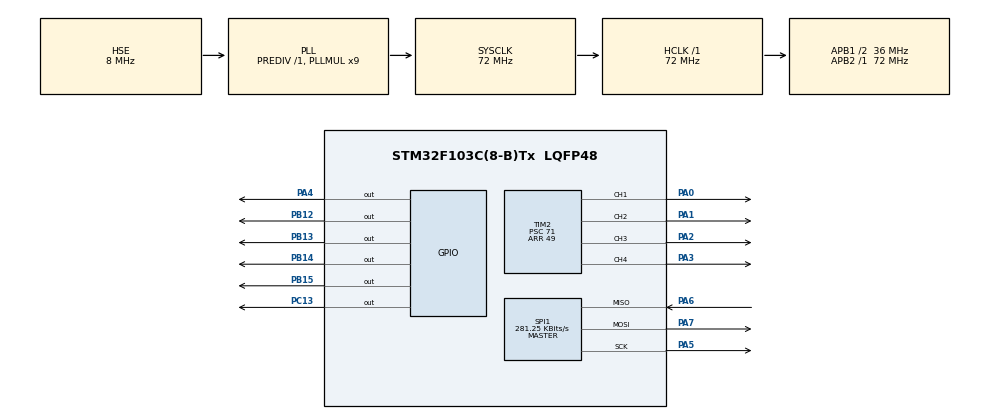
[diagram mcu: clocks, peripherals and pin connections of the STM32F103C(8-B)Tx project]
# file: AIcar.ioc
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Mcu.Family=STM32F1
Mcu.Name=STM32F103C(8-B)Tx
Mcu.Package=LQFP48
NVIC.PriorityGroup=NVIC_PRIORITYGROUP_4
PA0-WKUP.Signal=S_TIM2_CH1_ETR
PA1.Signal=S_TIM2_CH2
PA13.Mode=Serial_Wire
PA13.Signal=SYS_JTMS-SWDIO
PA14.Mode=Serial_Wire
PA14.Signal=SYS_JTCK-SWCLK
PA2.Signal=S_TIM2_CH3
PA3.Signal=S_TIM2_CH4
PA4.PinState=GPIO_PIN_SET
PA4.Signal=GPIO_Output
PA5.Mode=Full_Duplex_Master
PA5.Signal=SPI1_SCK
PA6.Mode=Full_Duplex_Master
PA6.Signal=SPI1_MISO
PA7.Mode=Full_Duplex_Master
PA7.Signal=SPI1_MOSI
PB12.Signal=GPIO_Output
PB13.Signal=GPIO_Output
PB14.Signal=GPIO_Output
PB15.Signal=GPIO_Output
PC13-TAMPER-RTC.Signal=GPIO_Output
PD0-OSC_IN.Mode=HSE-External-Oscillator
PD0-OSC_IN.Signal=RCC_OSC_IN
PD1-OSC_OUT.Mode=HSE-External-Oscillator
PD1-OSC_OUT.Signal=RCC_OSC_OUT
ProjectManager.HeapSize=0x200
ProjectManager.StackSize=0x400
ProjectManager.TargetToolchain=CMake
RCC.AHBFreq_Value=72000000
RCC.APB1CLKDivider=RCC_HCLK_DIV2
RCC.APB1Freq_Value=36000000
RCC.APB1TimFreq_Value=72000000
RCC.APB2Freq_Value=72000000
RCC.APB2TimFreq_Value=72000000
RCC.HCLKFreq_Value=72000000
RCC.PLLMUL=RCC_PLL_MUL9
RCC.PLLSourceVirtual=RCC_PLLSOURCE_HSE
RCC.SYSCLKFreq_VALUE=72000000
RCC.SYSCLKSource=RCC_SYSCLKSOURCE_PLLCLK
RCC.USBFreq_Value=72000000
SH.S_TIM2_CH1_ETR.0=TIM2_CH1,PWM Generation1 CH1
SH.S_TIM2_CH2.0=TIM2_CH2,PWM Generation2 CH2
SH.S_TIM2_CH3.0=TIM2_CH3,PWM Generation3 CH3
SH.S_TIM2_CH4.0=TIM2_CH4,PWM Generation4 CH4
SPI1.BaudRatePrescaler=SPI_BAUDRATEPRESCALER_256
SPI1.CLKPhase=SPI_PHASE_2EDGE
SPI1.CLKPolarity=SPI_POLARITY_HIGH
SPI1.CalculateBaudRate=281.25 KBits/s
SPI1.Direction=SPI_DIRECTION_2LINES
SPI1.FirstBit=SPI_FIRSTBIT_LSB
SPI1.Mode=SPI_MODE_MASTER
SPI1.VirtualType=VM_MASTER
TIM2.Channel-PWM\ Generation1\ CH1=TIM_CHANNEL_1
TIM2.Channel-PWM\ Generation2\ CH2=TIM_CHANNEL_2
TIM2.Channel-PWM\ Generation3\ CH3=TIM_CHANNEL_3
TIM2.Channel-PWM\ Generation4\ CH4=TIM_CHANNEL_4
TIM2.Period=49
TIM2.Prescaler=71
board=custom

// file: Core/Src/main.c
/* USER CODE BEGIN Header */
/**
  ******************************************************************************
  * @file           : main.c
  * @brief          : Main program body
  ******************************************************************************
  * @attention
  *
  * Copyright (c) 2026 STMicroelectronics.
  * All rights reserved.
  *
  * This software is licensed under terms that can be found in the LICENSE file
  * in the root directory of this software component.
  * If no LICENSE file comes with this software, it is provided AS-IS.
  *
  ******************************************************************************
  */
/* USER CODE END Header */
#include "main.h"
#include "spi.h"
#include "tim.h"
#include "gpio.h"

/* USER CODE BEGIN Includes */
#include "ps2.h"
/* USER CODE END Includes */

/* USER CODE BEGIN PD */
#define DUTY_FWD   60      /* 前进 / 后退速度，可改 40~80 */
#define DUTY_TURN  55      /* 原地转向速度 */
/* USER CODE END PD */

/* USER CODE BEGIN PV */
static PS2_t ps2;

/* 单个电机：duty -100 ~ +100，负数反转，0 停转 */
static void Motor_Set(uint32_t ch, uint16_t dir_pin, int duty)
{
  const uint32_t arr1 = 50;                 /* ARR(49) + 1 */

  if (duty >  100) duty =  100;
  if (duty < -100) duty = -100;

  if (duty >= 0) {
    HAL_GPIO_WritePin(GPIOB, dir_pin, GPIO_PIN_RESET);   /* 方向脚 = 0 → 正转 */
    __HAL_TIM_SET_COMPARE(&htim2, ch, arr1 * (uint32_t)duty / 100);
  } else {
    HAL_GPIO_WritePin(GPIOB, dir_pin, GPIO_PIN_SET);     /* 方向脚 = 1 → 反转 */
    __HAL_TIM_SET_COMPARE(&htim2, ch, arr1 * (uint32_t)(100 + duty) / 100);
  }
}

/* 底盘：按 左前、左后、右前、右后 四个轮子给速度 */
static void Car_Set(int fl, int rl, int fr, int rr)
{
  Motor_Set(TIM_CHANNEL_1, GPIO_PIN_12, fl);
  Motor_Set(TIM_CHANNEL_2, GPIO_PIN_13, rl);
  Motor_Set(TIM_CHANNEL_3, GPIO_PIN_14, fr);
  Motor_Set(TIM_CHANNEL_4, GPIO_PIN_15, rr);
}
/* USER CODE END PV */

void SystemClock_Config(void);

int main(void)
{

  /* MCU Configuration--------------------------------------------------------*/

  /* Reset of all peripherals, Initializes the Flash interface and the Systick. */
  HAL_Init();

  /* Configure the system clock */
  SystemClock_Config();

  /* Initialize all configured peripherals */
  MX_GPIO_Init();
  MX_SPI1_Init();
  MX_TIM2_Init();
  /* USER CODE BEGIN 2 */
  HAL_TIM_PWM_Start(&htim2, TIM_CHANNEL_1);
  HAL_TIM_PWM_Start(&htim2, TIM_CHANNEL_2);
  HAL_TIM_PWM_Start(&htim2, TIM_CHANNEL_3);
  HAL_TIM_PWM_Start(&htim2, TIM_CHANNEL_4);
  Car_Set(0, 0, 0, 0);

  HAL_GPIO_WritePin(GPIOC, GPIO_PIN_13, GPIO_PIN_SET);   /* 先熄灯，便于区分后面两种状态 */

  if (PS2_Init(&hspi1, GPIOA, GPIO_PIN_4)) {
    HAL_GPIO_WritePin(GPIOC, GPIO_PIN_13, GPIO_PIN_RESET);   /* LED 常亮 = 手柄通信成功 */
  } else {
    /* 通信失败：LED 快闪并停在这里，方便排查接线 */
    while (1) {
      HAL_GPIO_TogglePin(GPIOC, GPIO_PIN_13);
      HAL_Delay(100);
    }
  }

  /* ================= 通道标定（临时调试，查完可删） =================
     上电后自动跑一遍，用来核对“定时器通道 ↔ 实际哪个轮子”的对应关系：
       第 1 段：全部停 3 秒 —— 此时四个轮子必须完全静止；
       第 2~5 段：每段只驱动一个通道（正转 40%），持续 2 秒，
                 该段开始前 LED 会闪 N 下（闪 1 下 = M1，2 下 = M2……）。
     观察并记录：闪 N 下之后，是哪个轮子在动、往哪个方向动。 */
  Car_Set(0, 0, 0, 0);
  HAL_Delay(3000);                       /* 全部停 3 秒：四个轮子应静止 */

  for (int m = 0; m < 4; m++) {
    Car_Set(0, 0, 0, 0);
    HAL_Delay(300);

    for (int k = 0; k <= m; k++) {       /* 闪 m+1 下，提示将要驱动第几个通道 */
      HAL_GPIO_WritePin(GPIOC, GPIO_PIN_13, GPIO_PIN_RESET);
      HAL_Delay(150);
      HAL_GPIO_WritePin(GPIOC, GPIO_PIN_13, GPIO_PIN_SET);
      HAL_Delay(150);
    }
    HAL_Delay(600);

    switch (m) {                         /* 只驱动当前通道 */
      case 0: Motor_Set(TIM_CHANNEL_1, GPIO_PIN_12, 40); break;
      case 1: Motor_Set(TIM_CHANNEL_2, GPIO_PIN_13, 40); break;
      case 2: Motor_Set(TIM_CHANNEL_3, GPIO_PIN_14, 40); break;
      case 3: Motor_Set(TIM_CHANNEL_4, GPIO_PIN_15, 40); break;
      default: break;
    }
    HAL_Delay(2000);
  }

  Car_Set(0, 0, 0, 0);
  HAL_Delay(1000);
  /* ================= 标定结束，进入正常遥控 ================= */
  /* USER CODE END 2 */

  /* Infinite loop */
  while (1)
  {

    /* USER CODE BEGIN 3 */

    PS2_Read(&ps2);

    if (!ps2.connected) {
      Car_Set(0, 0, 0, 0);                                   /* 通信中断立刻停车 */
      HAL_GPIO_WritePin(GPIOC, GPIO_PIN_13, GPIO_PIN_SET);   /* LED 灭 */
    } else {
      HAL_GPIO_WritePin(GPIOC, GPIO_PIN_13, GPIO_PIN_RESET); /* LED 常亮 */

      if (ps2.btns & PSB_UP) {                               /* ↑ 前进 */
        Car_Set(DUTY_FWD, DUTY_FWD, DUTY_FWD, DUTY_FWD);
      } else if (ps2.btns & PSB_DOWN) {                      /* ↓ 后退 */
        Car_Set(-DUTY_FWD, -DUTY_FWD, -DUTY_FWD, -DUTY_FWD);
      } else if (ps2.btns & PSB_LEFT) {                      /* ← 原地左转 */
        Car_Set(-DUTY_TURN, -DUTY_TURN, DUTY_TURN, DUTY_TURN);
      } else if (ps2.btns & PSB_RIGHT) {                     /* → 原地右转 */
        Car_Set(DUTY_TURN, DUTY_TURN, -DUTY_TURN, -DUTY_TURN);
      } else if (ps2.btns & PSB_CROSS) {                     /* × 横移 */
        Car_Set(-DUTY_FWD, DUTY_FWD, DUTY_FWD, -DUTY_FWD);
      } else {
        Car_Set(0, 0, 0, 0);                                 /* 松手即停（滑行） */
      }

      /* 临时调试：按住任意键时熄灭 LED —— 不接电机也能确认按键被读到 */
      if (ps2.btns != 0) {
        HAL_GPIO_WritePin(GPIOC, GPIO_PIN_13, GPIO_PIN_SET);
      }
    }

    HAL_Delay(10);                                           /* 轮询周期约 10ms */
  }
  /* USER CODE END 3 */
}

void SystemClock_Config(void)
{
  RCC_OscInitTypeDef RCC_OscInitStruct = {0};
  RCC_ClkInitTypeDef RCC_ClkInitStruct = {0};

  /** Initializes the RCC Oscillators according to the specified parameters
  * in the RCC_OscInitTypeDef structure.
  */
  RCC_OscInitStruct.OscillatorType = RCC_OSCILLATORTYPE_HSE;
  RCC_OscInitStruct.HSEState = RCC_HSE_ON;
  RCC_OscInitStruct.HSEPredivValue = RCC_HSE_PREDIV_DIV1;
  RCC_OscInitStruct.HSIState = RCC_HSI_ON;
  RCC_OscInitStruct.PLL.PLLState = RCC_PLL_ON;
  RCC_OscInitStruct.PLL.PLLSource = RCC_PLLSOURCE_HSE;
  RCC_OscInitStruct.PLL.PLLMUL = RCC_PLL_MUL9;
  if (HAL_RCC_OscConfig(&RCC_OscInitStruct) != HAL_OK)
  {
    Error_Handler();
  }

  /** Initializes the CPU, AHB and APB buses clocks
  */
  RCC_ClkInitStruct.ClockType = RCC_CLOCKTYPE_HCLK|RCC_CLOCKTYPE_SYSCLK
                              |RCC_CLOCKTYPE_PCLK1|RCC_CLOCKTYPE_PCLK2;
  RCC_ClkInitStruct.SYSCLKSource = RCC_SYSCLKSOURCE_PLLCLK;
  RCC_ClkInitStruct.AHBCLKDivider = RCC_SYSCLK_DIV1;
  RCC_ClkInitStruct.APB1CLKDivider = RCC_HCLK_DIV2;
  RCC_ClkInitStruct.APB2CLKDivider = RCC_HCLK_DIV1;

  if (HAL_RCC_ClockConfig(&RCC_ClkInitStruct, FLASH_LATENCY_2) != HAL_OK)
  {
    Error_Handler();
  }
}

void Error_Handler(void)
{
  __disable_irq();
  while (1)
  {
  }
}
